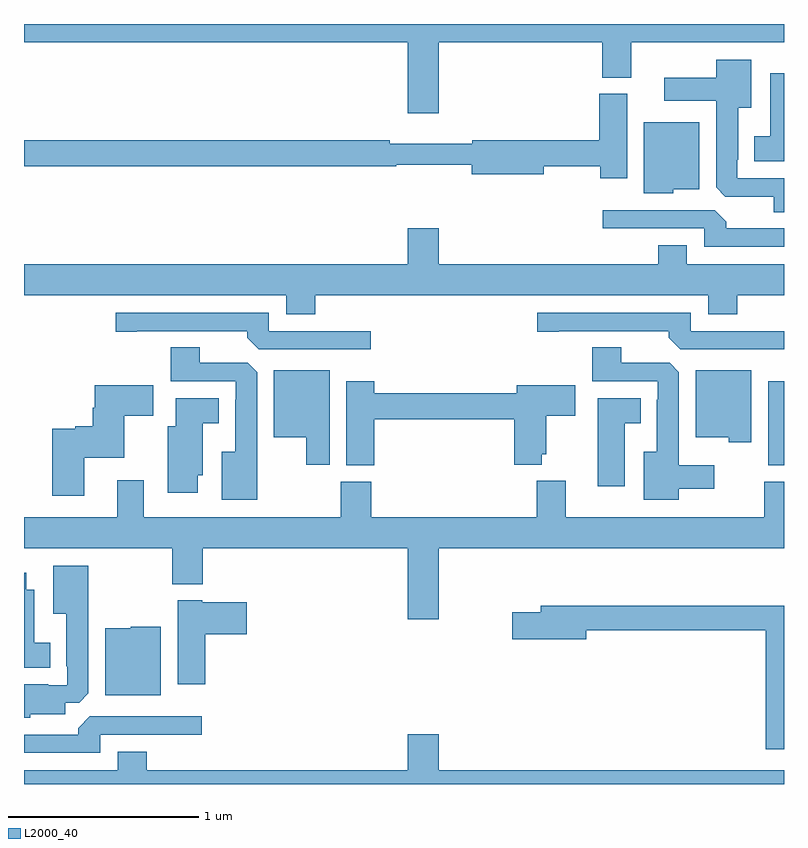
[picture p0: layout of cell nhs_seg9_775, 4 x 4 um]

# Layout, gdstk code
import gdstk
lib = gdstk.Library(unit=1e-6, precision=1e-09)
def R(c, l, rs):  # rectangles x0, y0, x1, y1
    for r in rs: c.add(gdstk.rectangle(r[:2], r[2:], *l))
def P(c, l, *ps):  # polygons
    for p in ps: c.add(gdstk.Polygon(p, *l))
L2000_40 = (2000, 40)

nhs_seg9_775 = lib.new_cell('nhs_seg9_775')
R(nhs_seg9_775, L2000_40, [(154.916,1210.177,155,1210.621)])
P(nhs_seg9_775, L2000_40, [(153.184,1212.404),(154.043,1212.404),(154.043,1212.217),(154.195,1212.217),(154.195,1212.404),(155,1212.404),(155,1212.5),(151,1212.5),(151,1212.404),(153.02,1212.404),(153.02,1212.03),(153.184,1212.03)],
  [(155,1211.688),(154.755,1211.688),(154.755,1211.785),(154.759,1211.785),(154.759,1212.059),(154.828,1212.059),(154.828,1212.313),(154.643,1212.313),(154.643,1212.217),(154.371,1212.217),(154.371,1212.095),(154.643,1212.095),(154.643,1211.641),(154.692,1211.592),(154.946,1211.592),(154.946,1211.509),(155,1211.509)],
  [(155,1212.241),(154.928,1212.241),(154.928,1211.908),(154.844,1211.908),(154.844,1211.777),(155,1211.777)],
  [(154.174,1212.132),(154.028,1212.132),(154.028,1211.888),(153.36,1211.888),(153.36,1211.869),(152.924,1211.869),(152.924,1211.888),(151,1211.888),(151,1211.752),(152.96,1211.752),(152.96,1211.76),(153.356,1211.76),(153.356,1211.71),(153.736,1211.71),(153.736,1211.752),(154.033,1211.752),(154.033,1211.688),(154.174,1211.688)],
  [(154.416,1211.63),(154.555,1211.63),(154.555,1211.983),(154.262,1211.983),(154.262,1211.609),(154.416,1211.609)],
  [(155,1211.424),(154.697,1211.424),(154.697,1211.458),(154.635,1211.52),(154.047,1211.52),(154.047,1211.424),(154.581,1211.424),(154.581,1211.328),(155,1211.328)],
  [(152.534,1211.072),(154.601,1211.072),(154.601,1210.973),(154.754,1210.973),(154.754,1211.072),(155,1211.072),(155,1211.236),(154.489,1211.236),(154.489,1211.335),(154.337,1211.335),(154.337,1211.236),(153.184,1211.236),(153.184,1211.425),(153.02,1211.425),(153.02,1211.236),(151,1211.236),(151,1211.072),(152.381,1211.072),(152.381,1210.973),(152.534,1210.973)],
  [(155,1210.884),(154.509,1210.884),(154.509,1210.98),(153.702,1210.98),(153.702,1210.879),(153.814,1210.879),(153.814,1210.884),(154.394,1210.884),(154.394,1210.85),(154.455,1210.788),(155,1210.788)],
  [(152.824,1210.884),(152.289,1210.884),(152.289,1210.98),(151.482,1210.98),(151.482,1210.879),(151.594,1210.879),(151.594,1210.884),(152.174,1210.884),(152.174,1210.85),(152.235,1210.788),(152.824,1210.788)],
  [(152.227,1210.667),(152.178,1210.716),(151.924,1210.716),(151.924,1210.799),(151.772,1210.799),(151.772,1210.62),(152.115,1210.62),(152.115,1210.523),(152.111,1210.523),(152.111,1210.249),(152.042,1210.249),(152.042,1209.995),(152.227,1209.995)],
  [(154.447,1210.055),(154.633,1210.055),(154.633,1210.177),(154.447,1210.177),(154.447,1210.667),(154.398,1210.716),(154.144,1210.716),(154.144,1210.799),(153.992,1210.799),(153.992,1210.62),(154.335,1210.62),(154.335,1210.523),(154.331,1210.523),(154.331,1210.249),(154.262,1210.249),(154.262,1209.995),(154.447,1209.995)],
  [(154.828,1210.678),(154.535,1210.678),(154.535,1210.325),(154.71,1210.325),(154.71,1210.298),(154.828,1210.298)],
  [(152.608,1210.678),(152.315,1210.678),(152.315,1210.325),(152.486,1210.325),(152.486,1210.179),(152.608,1210.179)],
  [(152.843,1210.42),(153.581,1210.42),(153.581,1210.181),(153.726,1210.181),(153.726,1210.235),(153.748,1210.235),(153.748,1210.438),(153.901,1210.438),(153.901,1210.6),(153.593,1210.6),(153.593,1210.556),(152.843,1210.556),(152.843,1210.621),(152.696,1210.621),(152.696,1210.177),(152.843,1210.177)],
  [(151.318,1210.217),(151.528,1210.217),(151.528,1210.438),(151.681,1210.438),(151.681,1210.6),(151.373,1210.6),(151.373,1210.481),(151.361,1210.481),(151.361,1210.382),(151.271,1210.382),(151.271,1210.369),(151.148,1210.369),(151.148,1210.017),(151.318,1210.017)],
  [(154.162,1210.4),(154.246,1210.4),(154.246,1210.531),(154.019,1210.531),(154.019,1210.068),(154.162,1210.068)],
  [(151.915,1210.125),(151.942,1210.125),(151.942,1210.4),(152.026,1210.4),(152.026,1210.531),(151.799,1210.531),(151.799,1210.384),(151.757,1210.384),(151.757,1210.032),(151.915,1210.032)],
  [(153.184,1209.74),(155,1209.74),(155,1210.092),(154.895,1210.092),(154.895,1209.904),(153.85,1209.904),(153.85,1210.096),(153.698,1210.096),(153.698,1209.904),(152.828,1209.904),(152.828,1210.092),(152.668,1210.092),(152.668,1209.904),(151.63,1209.904),(151.63,1210.099),(151.49,1210.099),(151.49,1209.904),(151,1209.904),(151,1209.74),(151.78,1209.74),(151.78,1209.551),(151.94,1209.551),(151.94,1209.74),(153.02,1209.74),(153.02,1209.366),(153.184,1209.366)],
  [(151.032,1208.867),(151.216,1208.867),(151.216,1208.928),(151.29,1208.928),(151.339,1208.977),(151.339,1209.649),(151.154,1209.649),(151.154,1209.395),(151.223,1209.395),(151.223,1209.121),(151.227,1209.121),(151.227,1209.021),(151.127,1209.021),(151.127,1209.025),(151,1209.025),(151,1208.849),(151.032,1208.849)],
  [(151.138,1209.244),(151.054,1209.244),(151.054,1209.523),(151.012,1209.523),(151.012,1209.613),(151,1209.613),(151,1209.113),(151.138,1209.113)],
  [(151.955,1209.287),(152.173,1209.287),(152.173,1209.457),(151.938,1209.457),(151.938,1209.466),(151.808,1209.466),(151.808,1209.024),(151.955,1209.024)],
  [(155,1209.439),(153.719,1209.439),(153.719,1209.405),(153.57,1209.405),(153.57,1209.263),(153.958,1209.263),(153.958,1209.31),(154.903,1209.31),(154.903,1208.682),(155,1208.682)],
  [(151.72,1209.328),(151.563,1209.328),(151.563,1209.319),(151.427,1209.319),(151.427,1208.966),(151.72,1208.966)],
  [(151.401,1208.76),(151.936,1208.76),(151.936,1208.856),(151.347,1208.856),(151.286,1208.794),(151.286,1208.76),(151,1208.76),(151,1208.664),(151.401,1208.664)],
  [(155,1208.572),(153.184,1208.572),(153.184,1208.761),(153.02,1208.761),(153.02,1208.572),(151.646,1208.572),(151.646,1208.671),(151.493,1208.671),(151.493,1208.572),(151,1208.572),(151,1208.5),(155,1208.5)])

lib.write_gds('nhs_seg9_775.gds')
